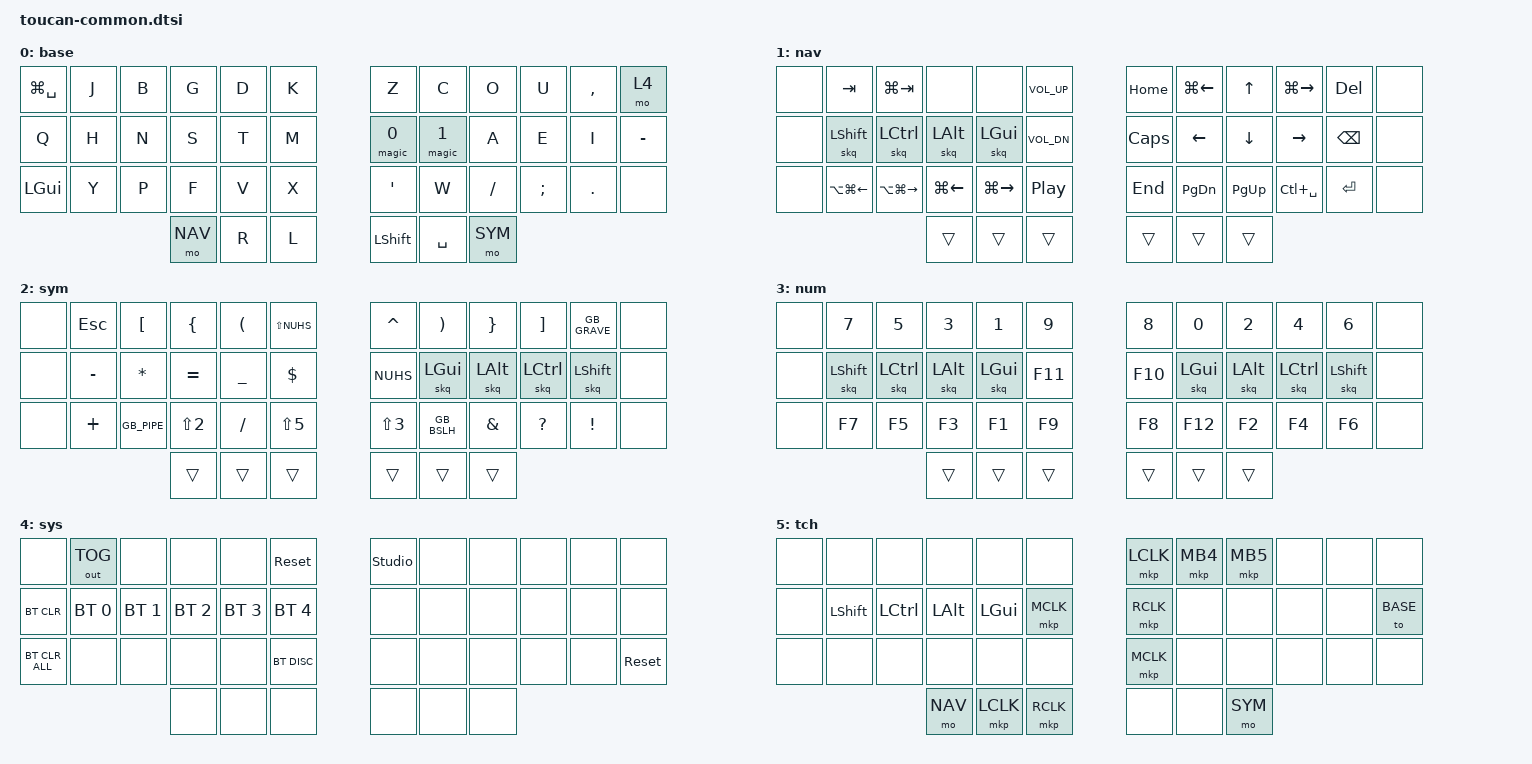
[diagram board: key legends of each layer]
#include <behaviors.dtsi>
#include <dt-bindings/zmk/keys.h>
#include <dt-bindings/zmk/bt.h>
#include <dt-bindings/zmk/outputs.h>
#include <dt-bindings/zmk/pointing.h>
#include <locale/keys_en_gb.h>

#define BASE  0
#define NAV   1
#define SYM   2
#define NUM   3
#define SYS   4
#define TOUCH 5

#define S_APP LG(TAB)       // Switch app (Mac)
#define B_BCK LG(LEFT)      // Browser back
#define B_FWD LG(RIGHT)     // Browser forward
#define SPC_L LA(LG(LEFT))  // Mac desktop
#define SPC_R LA(LG(RIGHT)) // Mac desktop
#define L_BEG LG(LEFT)      // Line beginning (Mac)
#define L_END LG(RIGHT)     // Line end (Mac)
#define LANG  LC(SPACE)     // Switch lang (Mac)
#define FINDR LG(SPACE)     // Finder or Raycast (Mac)

&is_touching_processor {
    // Set the current layer to TOUCH when the trackpad is touched 
    bindings = <&mo TOUCH>;
};

/ {
    conditional_layers {
        compatible = "zmk,conditional-layers";
        tri_layer {
            if-layers = <NAV SYM>;
            then-layer = <NUM>;
        };
    };
    
    behaviors {
        magic: magic_keys {
            compatible = "zmk,behavior-magic-keys";
            #binding-cells = <1>;
            magic-rules = <
                A O
                G S
                H Y
                U E
                X T
                Y H
            >;
            skip-magic-rules = <
                A O
                B N
                D T
                F S
                G S
                H Y
                J Y
                K T
                L R
                M K
                O A
                P N
                Q E
                R L
                U E
                V T
                X T
                Y H
                COMMA I
                DOT I
                MINUS I
                SLASH A
                SEMI E
            >;
        };

        skq: sticky_key_quick_release {
            compatible = "zmk,behavior-sticky-key";
            #binding-cells = <1>;
            bindings = <&kp>;
            release-after-ms = <2000>;
            quick-release;
            ignore-modifiers;
        };
    };

    keymap {
        compatible = "zmk,keymap";

        base {
            display-name = "base";
            bindings = <
                &kp FINDR &kp J &kp B &kp G &kp D &kp K   &kp Z      &kp C     &kp O     &kp U    &kp COMMA &mo 4
                &kp Q     &kp H &kp N &kp S &kp T &kp M   &magic 0   &magic 1  &kp A     &kp E    &kp I     &kp MINUS
                &kp LGUI  &kp Y &kp P &kp F &kp V &kp X   &kp SQT    &kp W     &kp SLASH &kp SEMI &kp DOT   &none
                                &mo NAV     &kp R &kp L   &kp LSHIFT &kp SPACE &mo SYM
            >;
        };

        nav {
            display-name = "nav";
            bindings = <
                &none &kp TAB     &kp S_APP  &none     &none     &kp C_VOL_UP  &kp HOME &kp L_BEG &kp UP    &kp L_END &kp DEL   &none
                &none &skq LSHIFT &skq LCTRL &skq LALT &skq LGUI &kp C_VOL_DN  &kp CAPS &kp LEFT  &kp DOWN  &kp RIGHT &kp BSPC  &none
                &none &kp SPC_L   &kp SPC_R  &kp B_BCK &kp B_FWD &kp C_PP      &kp END  &kp PG_DN &kp PG_UP &kp LANG  &kp ENTER &none
                                             &trans    &trans    &trans        &trans   &trans    &trans
            >;
        };

        sym {
            display-name = "sym";
            bindings = <
                &none &kp ESC   &kp LBKT      &kp LBRC    &kp LPAR  &kp LS(NUHS) &kp CARET  &kp RPAR    &kp RBRC  &kp RBKT   &kp GB_GRAVE &none
                &none &kp MINUS &kp STAR      &kp EQUAL   &kp UNDER &kp DLLR     &kp NUHS   &skq LGUI   &skq LALT &skq LCTRL &skq LSHIFT  &none
                &none &kp PLUS  &kp GB_PIPE   &kp LS(N2)  &kp SLASH &kp LS(N5)   &kp LS(N3) &kp GB_BSLH &kp AMPS  &kp QMARK  &kp EXCL     &none
                                              &trans      &trans    &trans       &trans     &trans      &trans
            >;
        };

        num {
            display-name = "num";
            bindings = <
                &none &kp N7      &kp N5     &kp N3    &kp N1    &kp N9   &kp N8  &kp N0    &kp N2    &kp N4     &kp N6      &none
                &none &skq LSHIFT &skq LCTRL &skq LALT &skq LGUI &kp F11  &kp F10 &skq LGUI &skq LALT &skq LCTRL &skq LSHIFT &none
                &none &kp F7      &kp F5     &kp F3    &kp F1    &kp F9   &kp F8  &kp F12   &kp F2    &kp F4     &kp F6      &none
                                               &trans   &trans   &trans   &trans  &trans   &trans
            >;
        };

        sys {
            display-name = "sys";
            bindings = <
                &none          &out OUT_TOG &none        &none        &none        &sys_reset    &studio_unlock &none &none &none &none &none 
                &bt BT_CLR     &bt BT_SEL 0 &bt BT_SEL 1 &bt BT_SEL 2 &bt BT_SEL 3 &bt BT_SEL 4  &none          &none &none &none &none &none
                &bt BT_CLR_ALL &none        &none        &none        &none        &bt BT_DISC   &none          &none &none &none &none &sys_reset
                                                         &none        &none        &none         &none &none &none
            >;
        };

        touch {
            display-name = "tch";
            bindings = <
                &none &none      &none     &none    &none     &none      &mkp LCLK &mkp MB4 &mkp MB5 &none &none &none
                &none &kp LSHIFT &kp LCTRL &kp LALT &kp LGUI  &mkp MCLK  &mkp RCLK &none    &none    &none &none &to BASE
                &none &none      &none     &none    &none     &none      &mkp MCLK &none    &none    &none &none &none 
                                           &mo NAV  &mkp LCLK &mkp RCLK  &none     &none    &mo SYM
            >;
        };
    };
};
